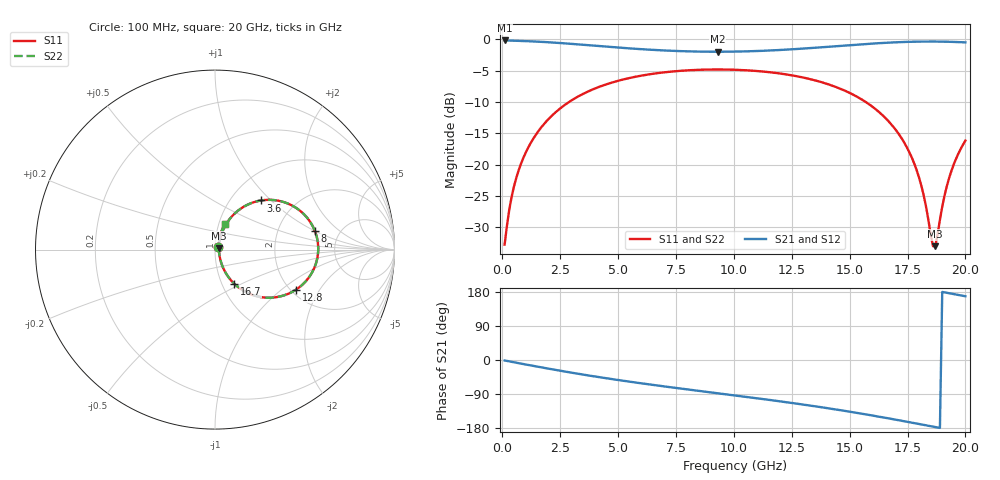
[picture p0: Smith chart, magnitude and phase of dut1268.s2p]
! Touchstone file exported from HFSS 2026.1.0
!  File:  C:/ffzhzh/LocalFiles/Ansys_Project_Files/temp_train_TSV_RDL_1268_1783328264_5512.aedt
!  Generated:  05:10:25 PM Jul  6, 2026
!  Design:  TSV_RDL
!  Project:  temp_train_TSV_RDL_1268_1783328264_5512
! Variables:
!  h_bsmrdl = 4.25um
!  h_ox = 20um
!  h_rdl = 5um
!  h_sub = 51.34um
!  h_tmrdl = 2.32um
!  h_tsv = 51.34um
!  h_via = 3um
!  l_bsmrdl = 174.92um
!  l_sub = 3405.76um
!  l_tmrdl = 582.51um
!  m_sub = 200um
!  pitch = 54.36um
!  r_tsv = 5.53um
!  s_tmrdl = 10um
!  w_bsmrdl = 26.38um
!  w_sub = 500um
!  w_tmrdl = 23.94um
!  x_tsv_center1 = 594.48um
!  x_tsv_center2 = 795.78um
!  x_tsv_center3 = 1402.23um
!  x_tsv_center4 = 1603.53um
!  x_tsv_center5 = 2209.98um
!  x_tsv_center6 = 2411.28um
# GHz S MA R 50.000000
! Terminal data exported
! Port[1] = TM_RDL1_1_T1
! Port[2] = TM_RDL5_1_T1
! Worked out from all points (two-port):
!   200 points, 100 MHz to 20 GHz, reference 50 ohm
!   highest |S21| = -0.17 dB at 100 MHz (marker M1); lowest = -2.0 dB at 9.3 GHz (marker M2)
!   |S21| within 3 dB of the highest: start of sweep to end of sweep
!   lowest |S11| = -33.1 dB at 18.7 GHz (marker M3), VSWR 1.05, Z = 52.2 + j0.674 ohm
!   |S11| at or under -10 dB: start of sweep to 2.884 GHz; 15.7 GHz to end of sweep
!   |S22| runs from -33.0 to -4.8 dB; largest |S21 - S12| = 3.9e-14
!   S11 on the Smith chart (normalised r, x): 100 MHz: 1.04, +0.03; 3.6 GHz: 1.37, +0.87; 8 GHz: 3.27, +1.00; 12.8 GHz: 2.14, -1.27; 16.7 GHz: 1.14, -0.46; 20 GHz: 1.07, +0.32
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0.1  0.02289 33.7  0.9812 -1.2  0.9812 -1.2  0.02289 33.7
! Gamma 0 0 0 0
! Port Impedance 50 0 50 0
0.3  0.04341 59.0  0.9793 -3.6  0.9793 -3.6  0.04341 59.0
0.5  0.06629 65.4  0.9768 -6.0  0.9768 -6.0  0.06629 65.4
1.1  0.1344 67.2  0.968 -12.9  0.968 -12.9  0.1344 67.2
2.1  0.2416 60.3  0.9466 -24.0  0.9466 -24.0  0.2416 60.3
3.5  0.3678 47.7  0.9061 -38.6  0.9061 -38.6  0.3678 47.7
3.6  0.3756 46.8  0.903 -39.6  0.903 -39.6  0.3756 46.8
6.8  0.5404 19.8  0.8194 -68.1  0.8194 -68.1  0.5404 19.8
8  0.566 10.6  0.8031 -77.7  0.8031 -77.7  0.566 10.6
9.3  0.5752 0.9  0.7971 -87.8  0.7971 -87.8  0.5752 0.9
10.1  0.5716 -5.1  0.7995 -94.0  0.7995 -94.0  0.5716 -5.1
12.8  0.5043 -26.2  0.8403 -115.9  0.8403 -115.9  0.5044 -26.2
13.4  0.4762 -31.2  0.8551 -121.2  0.8551 -121.2  0.4763 -31.2
15.3  0.3499 -48.0  0.9082 -139.4  0.9082 -139.4  0.35 -48.0
16.7  0.2198 -60.5  0.9429 -154.2  0.9429 -154.2  0.2199 -60.4
17.8  0.1008 -65.9  0.9591 -166.6  0.9591 -166.6  0.1009 -65.8
18.2  0.05664 -60.4  0.9615 -171.2  0.9615 -171.2  0.05673 -60.3
18.6  0.02226 -12.4  0.9618 -175.8  0.9618 -175.8  0.0224 -12.4
18.7  0.02226 16.9  0.9616 -177.0  0.9616 -177.0  0.02237 16.6
19  0.04604 60.5  0.9601 179.6  0.9601 179.6  0.04605 60.3
19.3  0.07834 69.0  0.9575 176.2  0.9575 176.2  0.07832 68.9
20  0.1553 69.2  0.9472 168.2  0.9472 168.2  0.1553 69.2
